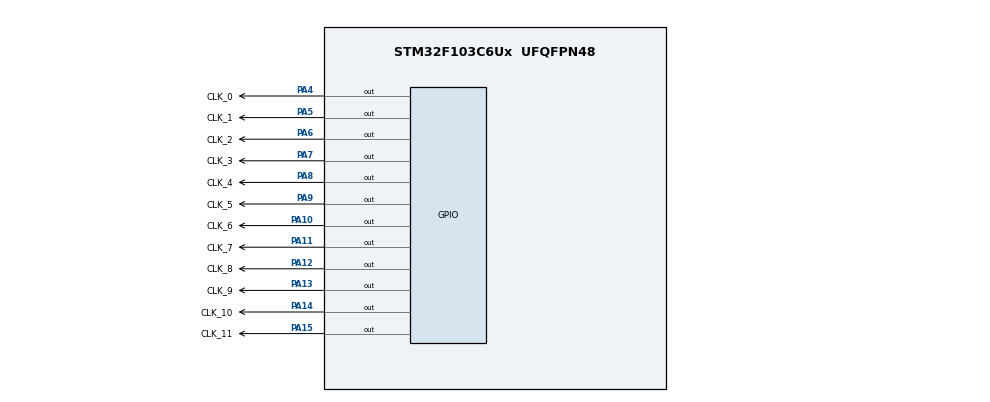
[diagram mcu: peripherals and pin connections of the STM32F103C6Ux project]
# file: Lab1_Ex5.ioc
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Mcu.Family=STM32F1
Mcu.Name=STM32F103C6Ux
Mcu.Package=UFQFPN48
NVIC.PriorityGroup=NVIC_PRIORITYGROUP_4
PA10.GPIO_Label=CLK_6
PA10.Signal=GPIO_Output
PA11.GPIO_Label=CLK_7
PA11.Signal=GPIO_Output
PA12.GPIO_Label=CLK_8
PA12.Signal=GPIO_Output
PA13.GPIO_Label=CLK_9
PA13.Signal=GPIO_Output
PA14.GPIO_Label=CLK_10
PA14.Signal=GPIO_Output
PA15.GPIO_Label=CLK_11
PA15.Signal=GPIO_Output
PA4.GPIO_Label=CLK_0
PA4.Signal=GPIO_Output
PA5.GPIO_Label=CLK_1
PA5.Signal=GPIO_Output
PA6.GPIO_Label=CLK_2
PA6.Signal=GPIO_Output
PA7.GPIO_Label=CLK_3
PA7.Signal=GPIO_Output
PA8.GPIO_Label=CLK_4
PA8.Signal=GPIO_Output
PA9.GPIO_Label=CLK_5
PA9.Signal=GPIO_Output
ProjectManager.HeapSize=0x200
ProjectManager.StackSize=0x400
ProjectManager.TargetToolchain=STM32CubeIDE
RCC.APB1Freq_Value=8000000
RCC.APB2Freq_Value=8000000
VP_SYS_VS_ND.Mode=No_Debug
board=custom

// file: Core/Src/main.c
/* USER CODE BEGIN Header */
/**
  ******************************************************************************
  * @file           : main.c
  * @brief          : Main program body
  ******************************************************************************
  * @attention
  *
  * <h2><center>&copy; Copyright (c) 2022 STMicroelectronics.
  * All rights reserved.</center></h2>
  *
  * This software component is licensed by ST under BSD 3-Clause license,
  * the "License"; You may not use this file except in compliance with the
  * License. You may obtain a copy of the License at:
  *                        opensource.org/licenses/BSD-3-Clause
  *
  ******************************************************************************
  */
/* USER CODE END Header */
#include "main.h"

void SystemClock_Config(void);
static void MX_GPIO_Init(void);
/* USER CODE BEGIN PFP */
void clearAllClock(void);
void setNumberOnClock(int);
void clearNumberOnClock(int);
/* USER CODE END PFP */

int main(void)
{

  /* MCU Configuration--------------------------------------------------------*/

  /* Reset of all peripherals, Initializes the Flash interface and the Systick. */
  HAL_Init();

  /* Configure the system clock */
  SystemClock_Config();

  /* Initialize all configured peripherals */
  MX_GPIO_Init();

  /* Infinite loop */
  /* USER CODE BEGIN WHILE */
  int hour = 0;
  int minute = 0;
  int second = 0;
  setNumberOnClock(0);

  while (1)
  {
    /* USER CODE END WHILE */

    /* USER CODE BEGIN 3 */
	if(second == 60) {
		minute++;
		second = 0;
	}
	if(minute == 60) {
		hour++;
		minute = 0;
	}
	if(hour == 12) {
		hour = 0;
	}
	clearAllClock();
	setNumberOnClock(second / 5);
	setNumberOnClock(minute / 5);
	setNumberOnClock(hour);
	second++;
	HAL_Delay(1000);
	}
  /* USER CODE END 3 */
}

void SystemClock_Config(void)
{
  RCC_OscInitTypeDef RCC_OscInitStruct = {0};
  RCC_ClkInitTypeDef RCC_ClkInitStruct = {0};

  /** Initializes the RCC Oscillators according to the specified parameters
  * in the RCC_OscInitTypeDef structure.
  */
  RCC_OscInitStruct.OscillatorType = RCC_OSCILLATORTYPE_HSI;
  RCC_OscInitStruct.HSIState = RCC_HSI_ON;
  RCC_OscInitStruct.HSICalibrationValue = RCC_HSICALIBRATION_DEFAULT;
  RCC_OscInitStruct.PLL.PLLState = RCC_PLL_NONE;
  if (HAL_RCC_OscConfig(&RCC_OscInitStruct) != HAL_OK)
  {
    Error_Handler();
  }
  /** Initializes the CPU, AHB and APB buses clocks
  */
  RCC_ClkInitStruct.ClockType = RCC_CLOCKTYPE_HCLK|RCC_CLOCKTYPE_SYSCLK
                              |RCC_CLOCKTYPE_PCLK1|RCC_CLOCKTYPE_PCLK2;
  RCC_ClkInitStruct.SYSCLKSource = RCC_SYSCLKSOURCE_HSI;
  RCC_ClkInitStruct.AHBCLKDivider = RCC_SYSCLK_DIV1;
  RCC_ClkInitStruct.APB1CLKDivider = RCC_HCLK_DIV1;
  RCC_ClkInitStruct.APB2CLKDivider = RCC_HCLK_DIV1;

  if (HAL_RCC_ClockConfig(&RCC_ClkInitStruct, FLASH_LATENCY_0) != HAL_OK)
  {
    Error_Handler();
  }
}

static void MX_GPIO_Init(void)
{
  GPIO_InitTypeDef GPIO_InitStruct = {0};

  /* GPIO Ports Clock Enable */
  __HAL_RCC_GPIOA_CLK_ENABLE();

  /*Configure GPIO pin Output Level */
  HAL_GPIO_WritePin(GPIOA, CLK_0_Pin|CLK_1_Pin|CLK_2_Pin|CLK_3_Pin
                          |CLK_4_Pin|CLK_5_Pin|CLK_6_Pin|CLK_7_Pin
                          |CLK_8_Pin|CLK_9_Pin|CLK_10_Pin|CLK_11_Pin, GPIO_PIN_SET);

  /*Configure GPIO pins : CLK_0_Pin CLK_1_Pin CLK_2_Pin CLK_3_Pin
                           CLK_4_Pin CLK_5_Pin CLK_6_Pin CLK_7_Pin
                           CLK_8_Pin CLK_9_Pin CLK_10_Pin CLK_11_Pin */
  GPIO_InitStruct.Pin = CLK_0_Pin|CLK_1_Pin|CLK_2_Pin|CLK_3_Pin
                          |CLK_4_Pin|CLK_5_Pin|CLK_6_Pin|CLK_7_Pin
                          |CLK_8_Pin|CLK_9_Pin|CLK_10_Pin|CLK_11_Pin;
  GPIO_InitStruct.Mode = GPIO_MODE_OUTPUT_PP;
  GPIO_InitStruct.Pull = GPIO_NOPULL;
  GPIO_InitStruct.Speed = GPIO_SPEED_FREQ_LOW;
  HAL_GPIO_Init(GPIOA, &GPIO_InitStruct);

}

/* USER CODE BEGIN 4 */
void clearNumberOnClock(int num){
	if (num == 0) HAL_GPIO_WritePin(CLK_0_GPIO_Port, CLK_0_Pin, GPIO_PIN_SET);
	if (num == 1) HAL_GPIO_WritePin(CLK_1_GPIO_Port, CLK_1_Pin, GPIO_PIN_SET);
	if (num == 2) HAL_GPIO_WritePin(CLK_2_GPIO_Port, CLK_2_Pin, GPIO_PIN_SET);
	if (num == 3) HAL_GPIO_WritePin(CLK_3_GPIO_Port, CLK_3_Pin, GPIO_PIN_SET);
	if (num == 4) HAL_GPIO_WritePin(CLK_4_GPIO_Port, CLK_4_Pin, GPIO_PIN_SET);
	if (num == 5) HAL_GPIO_WritePin(CLK_5_GPIO_Port, CLK_5_Pin, GPIO_PIN_SET);
	if (num == 6) HAL_GPIO_WritePin(CLK_6_GPIO_Port, CLK_6_Pin, GPIO_PIN_SET);
	if (num == 7) HAL_GPIO_WritePin(CLK_7_GPIO_Port, CLK_7_Pin, GPIO_PIN_SET);
	if (num == 8) HAL_GPIO_WritePin(CLK_8_GPIO_Port, CLK_8_Pin, GPIO_PIN_SET);
	if (num == 9) HAL_GPIO_WritePin(CLK_9_GPIO_Port, CLK_9_Pin, GPIO_PIN_SET);
	if (num == 10) HAL_GPIO_WritePin(CLK_10_GPIO_Port, CLK_10_Pin, GPIO_PIN_SET);
	if (num == 11) HAL_GPIO_WritePin(CLK_11_GPIO_Port, CLK_11_Pin, GPIO_PIN_SET);
}

void setNumberOnClock(int num){
	if (num == 0) HAL_GPIO_WritePin(CLK_0_GPIO_Port, CLK_0_Pin, GPIO_PIN_RESET);
	if (num == 1) HAL_GPIO_WritePin(CLK_1_GPIO_Port, CLK_1_Pin, GPIO_PIN_RESET);
	if (num == 2) HAL_GPIO_WritePin(CLK_2_GPIO_Port, CLK_2_Pin, GPIO_PIN_RESET);
	if (num == 3) HAL_GPIO_WritePin(CLK_3_GPIO_Port, CLK_3_Pin, GPIO_PIN_RESET);
	if (num == 4) HAL_GPIO_WritePin(CLK_4_GPIO_Port, CLK_4_Pin, GPIO_PIN_RESET);
	if (num == 5) HAL_GPIO_WritePin(CLK_5_GPIO_Port, CLK_5_Pin, GPIO_PIN_RESET);
	if (num == 6) HAL_GPIO_WritePin(CLK_6_GPIO_Port, CLK_6_Pin, GPIO_PIN_RESET);
	if (num == 7) HAL_GPIO_WritePin(CLK_7_GPIO_Port, CLK_7_Pin, GPIO_PIN_RESET);
	if (num == 8) HAL_GPIO_WritePin(CLK_8_GPIO_Port, CLK_8_Pin, GPIO_PIN_RESET);
	if (num == 9) HAL_GPIO_WritePin(CLK_9_GPIO_Port, CLK_9_Pin, GPIO_PIN_RESET);
	if (num == 10) HAL_GPIO_WritePin(CLK_10_GPIO_Port, CLK_10_Pin, GPIO_PIN_RESET);
	if (num == 11) HAL_GPIO_WritePin(CLK_11_GPIO_Port, CLK_11_Pin, GPIO_PIN_RESET);
}

void clearAllClock(void){
	HAL_GPIO_WritePin(GPIOA, CLK_0_Pin|CLK_1_Pin|CLK_2_Pin|CLK_3_Pin
	                          |CLK_4_Pin|CLK_5_Pin|CLK_6_Pin|CLK_7_Pin
	                          |CLK_8_Pin|CLK_9_Pin|CLK_10_Pin|CLK_11_Pin, GPIO_PIN_SET);
}
/* USER CODE END 4 */

void Error_Handler(void)
{
  __disable_irq();
  while (1)
  {
  }
}

/************************ (C) COPYRIGHT STMicroelectronics *****END OF FILE****/
